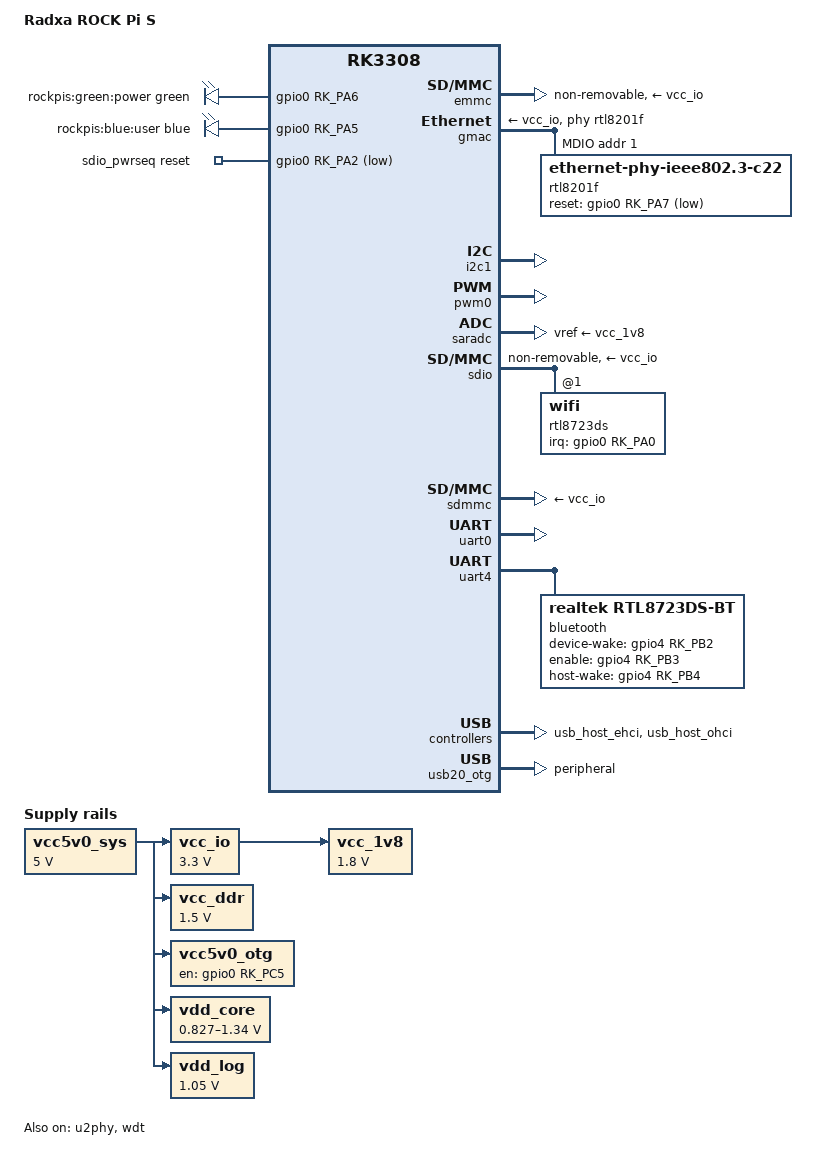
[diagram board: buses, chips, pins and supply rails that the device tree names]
// SPDX-License-Identifier: (GPL-2.0+ OR MIT)
/*
 * Copyright (c) 2019 Akash Gajjar <akash@openedev.com>
 * Copyright (c) 2019 Jagan Teki <jagan@openedev.com>
 */

/dts-v1/;

#include <dt-bindings/leds/common.h>
#include "rk3308.dtsi"

/ {
	model = "Radxa ROCK Pi S";
	compatible = "radxa,rockpis", "rockchip,rk3308";

	aliases {
		ethernet0 = &gmac;
		mmc0 = &emmc;
		mmc1 = &sdmmc;
		mmc2 = &sdio;
	};

	chosen {
		stdout-path = "serial0:1500000n8";
	};

	leds {
		compatible = "gpio-leds";
		pinctrl-names = "default";
		pinctrl-0 = <&green_led>, <&heartbeat_led>;

		green-led {
			color = <LED_COLOR_ID_GREEN>;
			default-state = "on";
			function = LED_FUNCTION_POWER;
			gpios = <&gpio0 RK_PA6 GPIO_ACTIVE_HIGH>;
			label = "rockpis:green:power";
			linux,default-trigger = "default-on";
		};

		blue-led {
			color = <LED_COLOR_ID_BLUE>;
			default-state = "on";
			function = LED_FUNCTION_HEARTBEAT;
			gpios = <&gpio0 RK_PA5 GPIO_ACTIVE_HIGH>;
			label = "rockpis:blue:user";
			linux,default-trigger = "heartbeat";
		};
	};

	sdio_pwrseq: sdio-pwrseq {
		compatible = "mmc-pwrseq-simple";
		pinctrl-0 = <&wifi_enable_h>;
		pinctrl-names = "default";
		reset-gpios = <&gpio0 RK_PA2 GPIO_ACTIVE_LOW>;
	};

	vcc_1v8: vcc-1v8 {
		compatible = "regulator-fixed";
		regulator-name = "vcc_1v8";
		regulator-always-on;
		regulator-boot-on;
		regulator-min-microvolt = <1800000>;
		regulator-max-microvolt = <1800000>;
		vin-supply = <&vcc_io>;
	};

	vcc_io: vcc-io {
		compatible = "regulator-fixed";
		regulator-name = "vcc_io";
		regulator-always-on;
		regulator-boot-on;
		regulator-min-microvolt = <3300000>;
		regulator-max-microvolt = <3300000>;
		vin-supply = <&vcc5v0_sys>;
	};

	vcc_ddr: vcc-ddr {
		compatible = "regulator-fixed";
		regulator-name = "vcc_ddr";
		regulator-always-on;
		regulator-boot-on;
		regulator-min-microvolt = <1500000>;
		regulator-max-microvolt = <1500000>;
		vin-supply = <&vcc5v0_sys>;
	};

	vcc5v0_otg: vcc5v0-otg {
		compatible = "regulator-fixed";
		enable-active-high;
		gpio = <&gpio0 RK_PC5 GPIO_ACTIVE_HIGH>;
		pinctrl-names = "default";
		pinctrl-0 = <&otg_vbus_drv>;
		regulator-name = "vcc5v0_otg";
		regulator-always-on;
		vin-supply = <&vcc5v0_sys>;
	};

	vcc5v0_sys: vcc5v0-sys {
		compatible = "regulator-fixed";
		regulator-name = "vcc5v0_sys";
		regulator-always-on;
		regulator-boot-on;
		regulator-min-microvolt = <5000000>;
		regulator-max-microvolt = <5000000>;
	};

	vdd_core: vdd-core {
		compatible = "pwm-regulator";
		pwms = <&pwm0 0 5000 1>;
		pwm-supply = <&vcc5v0_sys>;
		regulator-name = "vdd_core";
		regulator-min-microvolt = <827000>;
		regulator-max-microvolt = <1340000>;
		regulator-init-microvolt = <1015000>;
		regulator-settling-time-up-us = <250>;
		regulator-always-on;
		regulator-boot-on;
	};

	vdd_log: vdd-log {
		compatible = "regulator-fixed";
		regulator-name = "vdd_log";
		regulator-always-on;
		regulator-boot-on;
		regulator-min-microvolt = <1050000>;
		regulator-max-microvolt = <1050000>;
		vin-supply = <&vcc5v0_sys>;
	};
};

&cpu0 {
	cpu-supply = <&vdd_core>;
};

&emmc {
	cap-mmc-highspeed;
	cap-sd-highspeed;
	no-sdio;
	non-removable;
	pinctrl-names = "default";
	pinctrl-0 = <&emmc_bus8 &emmc_clk &emmc_cmd>;
	vmmc-supply = <&vcc_io>;
	status = "okay";
};

&gmac {
	clock_in_out = "output";
	phy-handle = <&rtl8201f>;
	phy-supply = <&vcc_io>;
	status = "okay";

	mdio {
		compatible = "snps,dwmac-mdio";
		#address-cells = <1>;
		#size-cells = <0>;

		rtl8201f: ethernet-phy@1 {
			compatible = "ethernet-phy-ieee802.3-c22";
			reg = <1>;
			pinctrl-names = "default";
			pinctrl-0 = <&mac_rst>;
			reset-assert-us = <20000>;
			reset-deassert-us = <50000>;
			reset-gpios = <&gpio0 RK_PA7 GPIO_ACTIVE_LOW>;
		};
	};
};

&i2c1 {
	status = "okay";
};

&pinctrl {
	pinctrl-names = "default";
	pinctrl-0 = <&rtc_32k>;

	bluetooth {
		bt_reg_on: bt-reg-on {
			rockchip,pins = <4 RK_PB3 RK_FUNC_GPIO &pcfg_pull_none>;
		};

		bt_wake_host: bt-wake-host {
			rockchip,pins = <4 RK_PB4 RK_FUNC_GPIO &pcfg_pull_down>;
		};

		host_wake_bt: host-wake-bt {
			rockchip,pins = <4 RK_PB2 RK_FUNC_GPIO &pcfg_pull_none>;
		};
	};

	gmac {
		mac_rst: mac-rst {
			rockchip,pins = <0 RK_PA7 RK_FUNC_GPIO &pcfg_pull_none>;
		};
	};

	leds {
		green_led: green-led {
			rockchip,pins = <0 RK_PA6 RK_FUNC_GPIO &pcfg_pull_none>;
		};

		heartbeat_led: heartbeat-led {
			rockchip,pins = <0 RK_PA5 RK_FUNC_GPIO &pcfg_pull_none>;
		};
	};

	usb {
		otg_vbus_drv: otg-vbus-drv {
			rockchip,pins = <0 RK_PC5 RK_FUNC_GPIO &pcfg_pull_none>;
		};
	};

	sdio-pwrseq {
		wifi_enable_h: wifi-enable-h {
			rockchip,pins = <0 RK_PA2 RK_FUNC_GPIO &pcfg_pull_none>;
		};

		wifi_host_wake: wifi-host-wake {
			rockchip,pins = <0 RK_PA0 RK_FUNC_GPIO &pcfg_pull_down>;
		};
	};
};

&pwm0 {
	status = "okay";
	pinctrl-0 = <&pwm0_pin_pull_down>;
};

&saradc {
	vref-supply = <&vcc_1v8>;
	status = "okay";
};

&sdio {
	#address-cells = <1>;
	#size-cells = <0>;
	cap-sd-highspeed;
	cap-sdio-irq;
	keep-power-in-suspend;
	max-frequency = <100000000>;
	mmc-pwrseq = <&sdio_pwrseq>;
	no-mmc;
	no-sd;
	non-removable;
	sd-uhs-sdr50;
	vmmc-supply = <&vcc_io>;
	vqmmc-supply = <&vcc_1v8>;
	status = "okay";

	rtl8723ds: wifi@1 {
		reg = <1>;
		interrupt-parent = <&gpio0>;
		interrupts = <RK_PA0 IRQ_TYPE_LEVEL_HIGH>;
		interrupt-names = "host-wake";
		pinctrl-names = "default";
		pinctrl-0 = <&wifi_host_wake>;
	};
};

&sdmmc {
	cap-mmc-highspeed;
	cap-sd-highspeed;
	disable-wp;
	vmmc-supply = <&vcc_io>;
	status = "okay";
};

&u2phy {
	status = "okay";

	u2phy_host: host-port {
		phy-supply = <&vcc5v0_otg>;
		status = "okay";
	};

	u2phy_otg: otg-port {
		phy-supply = <&vcc5v0_otg>;
		status = "okay";
	};
};

&uart0 {
	pinctrl-names = "default";
	pinctrl-0 = <&uart0_xfer>;
	status = "okay";
};

&uart4 {
	uart-has-rtscts;
	status = "okay";

	bluetooth {
		compatible = "realtek,rtl8723ds-bt";
		device-wake-gpios = <&gpio4 RK_PB2 GPIO_ACTIVE_HIGH>;
		enable-gpios = <&gpio4 RK_PB3 GPIO_ACTIVE_HIGH>;
		host-wake-gpios = <&gpio4 RK_PB4 GPIO_ACTIVE_HIGH>;
		pinctrl-names = "default";
		pinctrl-0 = <&bt_reg_on &bt_wake_host &host_wake_bt>;
	};
};

&usb_host_ehci {
	status = "okay";
};

&usb_host_ohci {
	status = "okay";
};

&usb20_otg {
	dr_mode = "peripheral";
	status = "okay";
};

&wdt {
	status = "okay";
};
